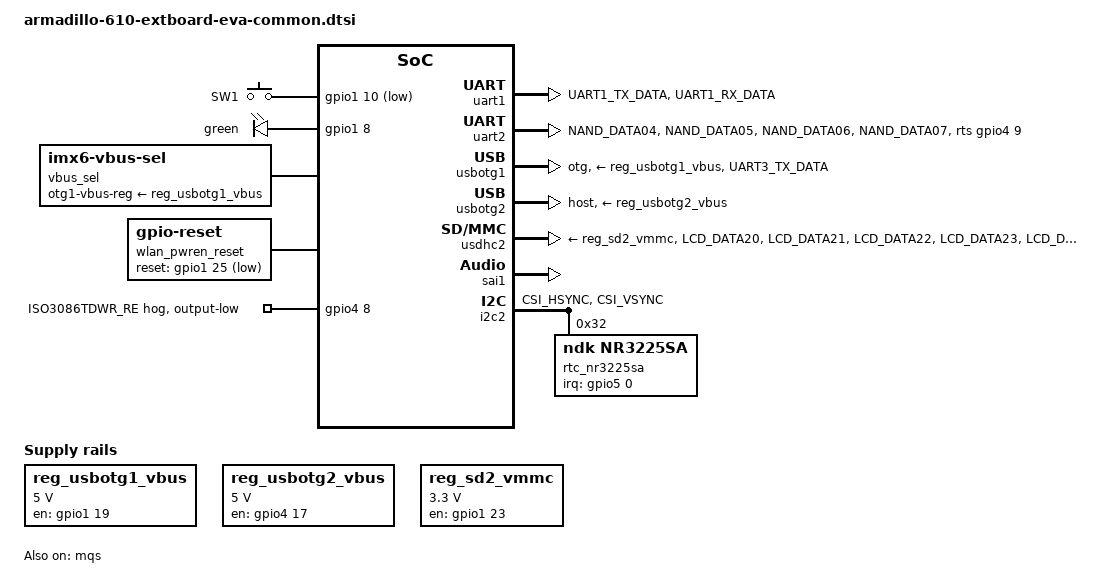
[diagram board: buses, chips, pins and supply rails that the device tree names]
/*
 * Copyright (C) 2020 Atmark Techno, Inc. All Rights Reserved.
 *
 * SPDX-License-Identifier: (GPL-2.0 OR MIT)
 */

/ {
	chosen {
		stdout-path = &uart1;
	};

	gpio-keys {
		compatible = "gpio-keys";
		pinctrl-names = "default";
		pinctrl-0 = <&pinctrl_gpio_keys>;

		sw1 {
			label = "SW1";
			gpios = <&gpio1 10 GPIO_ACTIVE_LOW>;
			linux,code = <KEY_ENTER>;
		};
	};

	gpio-leds {
		compatible = "gpio-leds";
		pinctrl-names = "default";
		pinctrl-0 = <&pinctrl_gpio_leds>;

		green {
			label = "green";
			gpios = <&gpio1 8 GPIO_ACTIVE_HIGH>;
			linux,default-trigger = "default-on";
		};
	};

	regulators {
		compatible = "simple-bus";
		#address-cells = <1>;
		#size-cells = <0>;

		reg_usbotg1_vbus: regulator-usbotg1vbus {
			pinctrl-names = "default";
			pinctrl-0 = <&pinctrl_usbotg1_vbus>;
			compatible = "regulator-fixed";
			regulator-name = "USB_OTG1_VBUS";
			regulator-min-microvolt = <5000000>;
			regulator-max-microvolt = <5000000>;
			gpio = <&gpio1 19 GPIO_ACTIVE_HIGH>;
			enable-active-high;
		};

		reg_usbotg2_vbus: regulator-usbotg2vbus {
			pinctrl-names = "default";
			pinctrl-0 = <&pinctrl_usbotg2_vbus>;
			compatible = "regulator-fixed";
			regulator-name = "USB_OTG2_VBUS";
			regulator-min-microvolt = <5000000>;
			regulator-max-microvolt = <5000000>;
			gpio = <&gpio4 17 GPIO_ACTIVE_HIGH>;
			enable-active-high;
		};

		reg_sd2_vmmc: regulator-sd2vmmc {
			pinctrl-names = "default";
			pinctrl-0 = <&pinctrl_sd2_vmmc>;
			compatible = "regulator-fixed";
			regulator-name = "VDD_SD2";
			regulator-min-microvolt = <3300000>;
			regulator-max-microvolt = <3300000>;
			gpio = <&gpio1 23 GPIO_ACTIVE_HIGH>;
			enable-active-high;
			regulator-boot-on;
		};
	};

	vbus_sel: vbus-sel {
		compatible = "imx6-vbus-sel";
		otg1-vbus-reg-supply = <&reg_usbotg1_vbus>;

		/* Workarounds for ERR010661 */
		/* otg2-vbus-reg-supply = <&reg_usbotg2_vbus>; */
	};

	sound-mqs {
		compatible = "fsl,imx6ul-ddr3-arm2-mqs",
				"fsl,imx-audio-mqs";
		model = "mqs-audio";
		cpu-dai = <&sai1>;
		asrc-controller = <&asrc>;
		audio-codec = <&mqs>;
	};

	wlan_pwren_reset: awlan-reset {
		pinctrl-names = "default";
		pinctrl-0 = <&pinctrl_wlan_pwren>;
		compatible = "gpio-reset";
		reset-gpios = <&gpio1 25 GPIO_ACTIVE_LOW>;

		/* awl13 needs time for power discharging that takes 500 msec */
		reset-delay-us = <500000>;

		reset-on-init;
		#reset-cells = <0>;
	};
};

&uart1 {
	pinctrl-names = "default";
	pinctrl-0 = <&pinctrl_uart1>;
	status = "okay";
};

&uart2 {
	pinctrl-names = "default";
	pinctrl-0 = <&pinctrl_uart2>;
	status = "okay";
	fsl,uart-has-rtscts;
	rts-gpios = <&gpio4 9 GPIO_ACTIVE_HIGH>;

	rs485-enabled-at-boot-time;
	rs485-rts-on-send;
	rs485-delay-rts-before-send = <0>;
	rs485-delay-rts-after-send = <0>;
};

&iomuxc {
	pinctrl-names = "default";
	pinctrl-0 = <
			&pinctrl_gpio_amp
			&pinctrl_gpio_con13b
		    >;

	pinctrl_wlan_pwren: wlanpwrengrp {
		fsl,pins = <
			MX6UL_PAD_UART3_RX_DATA__GPIO1_IO25 0x40000008
		>;
	};

	pinctrl_i2c2: i2c2grp {
		fsl,pins = <
			MX6UL_PAD_CSI_HSYNC__I2C2_SCL 0x4001b8b0
			MX6UL_PAD_CSI_VSYNC__I2C2_SDA 0x4001b8b0
		>;
	};

	pinctrl_mqs: mqsgrp {
		fsl,pins = <
			MX6UL_PAD_GPIO1_IO00__MQS_RIGHT 0x11088 // MQS
		>;
	};

	pinctrl_gpio_amp: gpioampgrp {
		fsl,pins = <
			MX6UL_PAD_GPIO1_IO05__GPIO1_IO05 0x400010b0 // AMP_SD_B
		>;
	};

	pinctrl_gpio_con13b: gpiocon13bgrp {
		fsl,pins = <
			MX6UL_PAD_UART2_TX_DATA__GPIO1_IO20 0x400010b0 // DI1
			MX6UL_PAD_UART2_RX_DATA__GPIO1_IO21 0x400010b0 // DI2
			MX6UL_PAD_UART5_TX_DATA__GPIO1_IO30 0x400010b0 // DO1
			MX6UL_PAD_UART5_RX_DATA__GPIO1_IO31 0x400010b0 // DO2
		>;
	};

	pinctrl_uart2: uart2grp {
		fsl,pins = <
			MX6UL_PAD_NAND_DATA04__UART2_DCE_TX	0x00008
			MX6UL_PAD_NAND_DATA05__UART2_DCE_RX	0x1b0b1
			MX6UL_PAD_NAND_DATA06__GPIO4_IO08	0x00008
			MX6UL_PAD_NAND_DATA07__GPIO4_IO09	0x00008
		>;
	};

	pinctrl_usdhc2: usdhc2grp {
		fsl,pins = <
			MX6UL_PAD_LCD_DATA20__USDHC2_DATA0 0x10051
			MX6UL_PAD_LCD_DATA21__USDHC2_DATA1 0x10051
			MX6UL_PAD_LCD_DATA22__USDHC2_DATA2 0x10051
			MX6UL_PAD_LCD_DATA23__USDHC2_DATA3 0x10051
			MX6UL_PAD_LCD_DATA19__USDHC2_CLK   0x10059
			MX6UL_PAD_LCD_DATA18__USDHC2_CMD   0x10061
			MX6UL_PAD_UART3_RTS_B__GPIO1_IO27  0x00 /* CD */
			MX6UL_PAD_UART3_CTS_B__GPIO1_IO26  0x00 /* WP */
		>;
	};

	pinctrl_gpio_keys: gpiokeysgrp {
		fsl,pins = <
			MX6UL_PAD_JTAG_MOD__GPIO1_IO10     0x13080
		>;
	};

	pinctrl_gpio_leds: gpioledsgrp {
		fsl,pins = <
			MX6UL_PAD_GPIO1_IO08__GPIO1_IO08   0x00008
		>;
	};

	pinctrl_usbotg1: usbotg1grp {
		fsl,pins = <
			MX6UL_PAD_UART3_TX_DATA__ANATOP_OTG1_ID 0x17059
		>;
	};
	
	pinctrl_usbotg1_vbus: usbotg1vbusgrp {
		fsl,pins = <
			MX6UL_PAD_UART1_RTS_B__GPIO1_IO19  0x00008
		>;
	};

	pinctrl_usbotg2_vbus: usbotg2vbusgrp {
		fsl,pins = <
			MX6UL_PAD_CSI_MCLK__GPIO4_IO17     0x00008
		>;
	};

	pinctrl_uart1: uart1grp {
		fsl,pins = <
			MX6UL_PAD_UART1_TX_DATA__UART1_DCE_TX 0x00008
			MX6UL_PAD_UART1_RX_DATA__UART1_DCE_RX 0x1b0b1
		>;
	};

	pinctrl_sd2_vmmc: sd2vmmcgrp {
		fsl,pins = <
			MX6UL_PAD_UART2_RTS_B__GPIO1_IO23  0x00008
		>;
	};
};

&iomuxc_snvs {
	pinctrl_snvs_rtc_nr3225sa: snvs_rtcnr3225sagrp {
		fsl,pins = <
			MX6ULL_PAD_SNVS_TAMPER0__GPIO5_IO00 0x0b000
		>;
	};
};

&usbotg1 {
	pinctrl-names = "default";
	pinctrl-0 = <&pinctrl_usbotg1>;
	vbus-supply = <&reg_usbotg1_vbus>;
	dr_mode = "otg";
	disable-over-current;
	status = "okay";
};

&usbotg2 {
	vbus-supply = <&reg_usbotg2_vbus>;
	dr_mode = "host";
	disable-over-current;
	status = "okay";
};

&usbphy2 {
	fsl,tx-d-cal = <106>;
};

&usdhc2 {
	pinctrl-names = "default";
	pinctrl-0 = <&pinctrl_usdhc2>;
	cd-gpios = <&gpio1 27 GPIO_ACTIVE_LOW>;
	wp-gpios = <&gpio1 26 GPIO_ACTIVE_HIGH>;
	vmmc-supply = <&reg_sd2_vmmc>;
	keep-power-in-suspend;
	wakeup-source;
	status = "okay";
};

&clks {
	assigned-clocks = <&clks IMX6UL_CLK_PLL4_AUDIO_DIV>;
	assigned-clock-rates = <786432000>;
};

&sai1 {
	assigned-clocks = <&clks IMX6UL_CLK_SAI1_SEL>,
			  <&clks IMX6UL_CLK_SAI1>;
	assigned-clock-parents = <&clks IMX6UL_CLK_PLL4_AUDIO_DIV>;
	assigned-clock-rates = <0>, <24576000>;
	status = "okay";
};

&mqs {
	pinctrl-names = "default";
	pinctrl-0 = <&pinctrl_mqs>;
	clocks = <&clks IMX6UL_CLK_SAI1>;
	clock-names = "mclk";
	status = "okay";
};

&i2c2 {
	pinctrl-names = "default";
	pinctrl-0 = <&pinctrl_i2c2>;
	clock_frequency = <100000>;
	status = "okay";

	rtc_nr3225sa: rtc-nr3225sa {
		pinctrl-names = "default";
		pinctrl-0 = <&pinctrl_snvs_rtc_nr3225sa>;

		compatible = "ndk,nr3225sa";
		reg = <0x32>;

		interrupt-parent = <&gpio5>;
		interrupts = <0 IRQ_TYPE_EDGE_FALLING>;
	};
};

&gpio4 {
	iso3086tdwr_re {
		gpio-hog;
		gpios = <8 GPIO_ACTIVE_HIGH>;
		line-name = "ISO3086TDWR_RE";
		output-low;
	};
};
